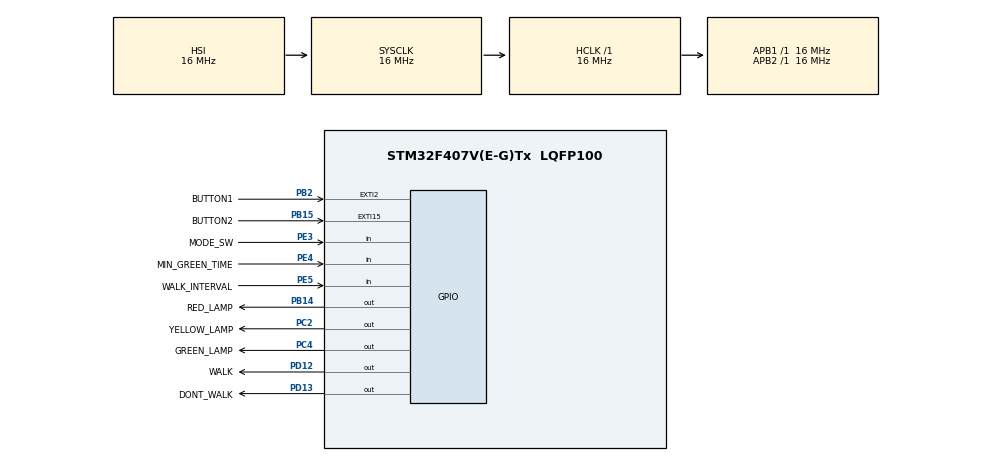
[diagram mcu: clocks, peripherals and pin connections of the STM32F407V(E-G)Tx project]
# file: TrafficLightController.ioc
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Mcu.Family=STM32F4
Mcu.Name=STM32F407V(E-G)Tx
Mcu.Package=LQFP100
NVIC.EXTI15_10_IRQn=true\:0\:0\:false\:false\:true\:true\:true
NVIC.EXTI2_IRQn=true\:0\:0\:false\:false\:true\:true\:true
NVIC.PriorityGroup=NVIC_PRIORITYGROUP_4
PA13.Mode=Serial_Wire
PA13.Signal=SYS_JTMS-SWDIO
PA14.Mode=Serial_Wire
PA14.Signal=SYS_JTCK-SWCLK
PB14.GPIO_Label=RED_LAMP
PB14.Signal=GPIO_Output
PB15.GPIO_Label=BUTTON2
PB15.GPIO_ModeDefaultEXTI=GPIO_MODE_IT_FALLING
PB15.Signal=GPXTI15
PB2.GPIO_Label=BUTTON1
PB2.GPIO_ModeDefaultEXTI=GPIO_MODE_IT_FALLING
PB2.Signal=GPXTI2
PC2.GPIO_Label=YELLOW_LAMP
PC2.Signal=GPIO_Output
PC4.GPIO_Label=GREEN_LAMP
PC4.Signal=GPIO_Output
PD12.GPIO_Label=WALK
PD12.Signal=GPIO_Output
PD13.GPIO_Label=DONT_WALK
PD13.Signal=GPIO_Output
PE3.GPIO_Label=MODE_SW
PE3.Signal=GPIO_Input
PE4.GPIO_Label=MIN_GREEN_TIME
PE4.Signal=GPIO_Input
PE5.GPIO_Label=WALK_INTERVAL
PE5.Signal=GPIO_Input
ProjectManager.HeapSize=0x200
ProjectManager.StackSize=0x400
ProjectManager.TargetToolchain=MDK-ARM V5
RCC.AHBFreq_Value=16000000
RCC.APB1Freq_Value=16000000
RCC.APB2Freq_Value=16000000
RCC.CortexFreq_Value=16000000
RCC.HSE_VALUE=25000000
RCC.HSI_VALUE=16000000
RCC.LSE_VALUE=32768
RCC.SYSCLKFreq_VALUE=16000000
RCC.VCOOutputFreq_Value=192000000
board=custom

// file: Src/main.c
/* USER CODE BEGIN Header */
/**
  ******************************************************************************
  * @file           : main.c
  * @brief          : Main program body
  ******************************************************************************
  * @attention
  *
  * <h2><center>&copy; Copyright (c) 2019 STMicroelectronics.
  * All rights reserved.</center></h2>
  *
  * This software component is licensed by ST under BSD 3-Clause license,
  * the "License"; You may not use this file except in compliance with the
  * License. You may obtain a copy of the License at:
  *                        opensource.org/licenses/BSD-3-Clause
  *
  ******************************************************************************
  */
/* USER CODE END Header */

#include "main.h"

/* USER CODE BEGIN Includes */
#include <stdio.h>
#include "bsp.h"
#include "timer.h"
#include "ctrler.h"
/* USER CODE END Includes */

void SystemClock_Config(void);
static void MX_GPIO_Init(void);

/* USER CODE BEGIN 0 */
int fputc(int ch, FILE *f)
{
    return ITM_SendChar(ch);
}

Event_t Event_Detect(){

    Event_t evt = NO_EVT;
	if (OUT_OF_SERVICE() != SET){
	if(Timeout_Status){
		evt = TIMEOUT;
		Timeout_Status = 0;
	}
	if (Button_Status){
		evt = BUTTON;
		Button_Status = 0;
	}
	}else{
		evt = MODE_CHANGE;
	}
	return evt;
}

int Green_selected(){
	int TimeGreen = 0;
	if (MIN_GREEN_TIME() == SET){
		TimeGreen = 1200;
	}else{
		TimeGreen = 600;
	}
	return TimeGreen;
}

int Walk_selected() {
	static int Walktime = 0;
	if(WALK_INTERVAL() == SET){
		Walktime = 200;
	}else{
		Walktime = 100;
	}
	return Walktime;
}
/* USER CODE END 0 */

int main(void)
{

  /* MCU Configuration--------------------------------------------------------*/

  /* Reset of all peripherals, Initializes the Flash interface and the Systick. */
  HAL_Init();

  /* Configure the system clock */
  SystemClock_Config();

  /* Initialize all configured peripherals */
  MX_GPIO_Init();

  /* Infinite loop */
  while (1)
  {

    /* USER CODE BEGIN 3 */
    Event_t evt = Event_Detect();
    uint32_t timeout_value = Ctrler_Exec(evt);
    Timeout_Config(timeout_value);
    Delay(1);
  }
  /* USER CODE END 3 */
}

void SystemClock_Config(void)
{
  RCC_OscInitTypeDef RCC_OscInitStruct = {0};
  RCC_ClkInitTypeDef RCC_ClkInitStruct = {0};

  /** Configure the main internal regulator output voltage
  */
  __HAL_RCC_PWR_CLK_ENABLE();
  __HAL_PWR_VOLTAGESCALING_CONFIG(PWR_REGULATOR_VOLTAGE_SCALE1);
  /** Initializes the CPU, AHB and APB busses clocks
  */
  RCC_OscInitStruct.OscillatorType = RCC_OSCILLATORTYPE_HSI;
  RCC_OscInitStruct.HSIState = RCC_HSI_ON;
  RCC_OscInitStruct.HSICalibrationValue = RCC_HSICALIBRATION_DEFAULT;
  RCC_OscInitStruct.PLL.PLLState = RCC_PLL_NONE;
  if (HAL_RCC_OscConfig(&RCC_OscInitStruct) != HAL_OK)
  {
    Error_Handler();
  }
  /** Initializes the CPU, AHB and APB busses clocks
  */
  RCC_ClkInitStruct.ClockType = RCC_CLOCKTYPE_HCLK|RCC_CLOCKTYPE_SYSCLK
                              |RCC_CLOCKTYPE_PCLK1|RCC_CLOCKTYPE_PCLK2;
  RCC_ClkInitStruct.SYSCLKSource = RCC_SYSCLKSOURCE_HSI;
  RCC_ClkInitStruct.AHBCLKDivider = RCC_SYSCLK_DIV1;
  RCC_ClkInitStruct.APB1CLKDivider = RCC_HCLK_DIV1;
  RCC_ClkInitStruct.APB2CLKDivider = RCC_HCLK_DIV1;

  if (HAL_RCC_ClockConfig(&RCC_ClkInitStruct, FLASH_LATENCY_0) != HAL_OK)
  {
    Error_Handler();
  }
}

static void MX_GPIO_Init(void)
{
  GPIO_InitTypeDef GPIO_InitStruct = {0};

  /* GPIO Ports Clock Enable */
  __HAL_RCC_GPIOE_CLK_ENABLE();
  __HAL_RCC_GPIOC_CLK_ENABLE();
  __HAL_RCC_GPIOB_CLK_ENABLE();
  __HAL_RCC_GPIOD_CLK_ENABLE();
  __HAL_RCC_GPIOA_CLK_ENABLE();

  /*Configure GPIO pin Output Level */
  HAL_GPIO_WritePin(GPIOC, YELLOW_LAMP_Pin|GREEN_LAMP_Pin, GPIO_PIN_RESET);

  /*Configure GPIO pin Output Level */
  HAL_GPIO_WritePin(RED_LAMP_GPIO_Port, RED_LAMP_Pin, GPIO_PIN_RESET);

  /*Configure GPIO pin Output Level */
  HAL_GPIO_WritePin(GPIOD, WALK_Pin|DONT_WALK_Pin, GPIO_PIN_RESET);

  /*Configure GPIO pins : MODE_SW_Pin MIN_GREEN_TIME_Pin WALK_INTERVAL_Pin */
  GPIO_InitStruct.Pin = MODE_SW_Pin|MIN_GREEN_TIME_Pin|WALK_INTERVAL_Pin;
  GPIO_InitStruct.Mode = GPIO_MODE_INPUT;
  GPIO_InitStruct.Pull = GPIO_NOPULL;
  HAL_GPIO_Init(GPIOE, &GPIO_InitStruct);

  /*Configure GPIO pins : YELLOW_LAMP_Pin GREEN_LAMP_Pin */
  GPIO_InitStruct.Pin = YELLOW_LAMP_Pin|GREEN_LAMP_Pin;
  GPIO_InitStruct.Mode = GPIO_MODE_OUTPUT_PP;
  GPIO_InitStruct.Pull = GPIO_NOPULL;
  GPIO_InitStruct.Speed = GPIO_SPEED_FREQ_LOW;
  HAL_GPIO_Init(GPIOC, &GPIO_InitStruct);

  /*Configure GPIO pins : BUTTON1_Pin BUTTON2_Pin */
  GPIO_InitStruct.Pin = BUTTON1_Pin|BUTTON2_Pin;
  GPIO_InitStruct.Mode = GPIO_MODE_IT_FALLING;
  GPIO_InitStruct.Pull = GPIO_NOPULL;
  HAL_GPIO_Init(GPIOB, &GPIO_InitStruct);

  /*Configure GPIO pin : RED_LAMP_Pin */
  GPIO_InitStruct.Pin = RED_LAMP_Pin;
  GPIO_InitStruct.Mode = GPIO_MODE_OUTPUT_PP;
  GPIO_InitStruct.Pull = GPIO_NOPULL;
  GPIO_InitStruct.Speed = GPIO_SPEED_FREQ_LOW;
  HAL_GPIO_Init(RED_LAMP_GPIO_Port, &GPIO_InitStruct);

  /*Configure GPIO pins : WALK_Pin DONT_WALK_Pin */
  GPIO_InitStruct.Pin = WALK_Pin|DONT_WALK_Pin;
  GPIO_InitStruct.Mode = GPIO_MODE_OUTPUT_PP;
  GPIO_InitStruct.Pull = GPIO_NOPULL;
  GPIO_InitStruct.Speed = GPIO_SPEED_FREQ_LOW;
  HAL_GPIO_Init(GPIOD, &GPIO_InitStruct);

  /* EXTI interrupt init*/
  HAL_NVIC_SetPriority(EXTI2_IRQn, 0, 0);
  HAL_NVIC_EnableIRQ(EXTI2_IRQn);

  HAL_NVIC_SetPriority(EXTI15_10_IRQn, 0, 0);
  HAL_NVIC_EnableIRQ(EXTI15_10_IRQn);

}

void Error_Handler(void)
{
}

/************************ (C) COPYRIGHT STMicroelectronics *****END OF FILE****/
